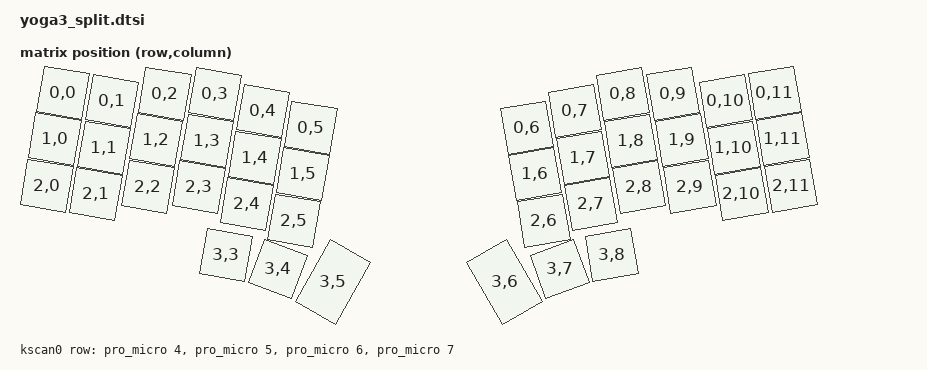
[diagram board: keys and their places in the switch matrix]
/*
 * SPDX-License-Identifier: MIT
 */

#include <dt-bindings/zmk/matrix_transform.h>
#include <physical_layouts.dtsi>

/ {
    chosen {
        zmk,kscan = &kscan0;
        zmk,physical-layout = &yoga3_split_layout;
    };

    default_transform: default_transform {
        compatible = "zmk,matrix-transform";
        columns = <12>;
        rows = <4>;
        map = <
            RC(0,0) RC(0,1) RC(0,2) RC(0,3) RC(0,4) RC(0,5) RC(0,6) RC(0,7) RC(0,8) RC(0,9) RC(0,10) RC(0,11)
            RC(1,0) RC(1,1) RC(1,2) RC(1,3) RC(1,4) RC(1,5) RC(1,6) RC(1,7) RC(1,8) RC(1,9) RC(1,10) RC(1,11)
            RC(2,0) RC(2,1) RC(2,2) RC(2,3) RC(2,4) RC(2,5) RC(2,6) RC(2,7) RC(2,8) RC(2,9) RC(2,10) RC(2,11)
            RC(3,3) RC(3,4) RC(3,5) RC(3,6) RC(3,7) RC(3,8)
        >;
    };

    yoga3_split_layout: yoga3_split_layout {
        compatible = "zmk,physical-layout";
        display-name = "Default";
        transform = <&default_transform>;
        keys  //                     w   h     x     y   rot    rx    ry
            = <&key_physical_attrs 100 100      33       0    1000      83      50>
            , <&key_physical_attrs 100 100     131      17    1000     181      67>
            , <&key_physical_attrs 100 100     236       2    1000     286      52>
            , <&key_physical_attrs 100 100     337       3    1000     387      53>
            , <&key_physical_attrs 100 100     433      37    1000     483      87>
            , <&key_physical_attrs 100 100     528      70    1000     578     120>
            , <&key_physical_attrs 100 100     961      70 (-1000)    1011     120>
            , <&key_physical_attrs 100 100    1056      37 (-1000)    1106      87>
            , <&key_physical_attrs 100 100    1152       3 (-1000)    1202      53>
            , <&key_physical_attrs 100 100    1253       2 (-1000)    1303      52>
            , <&key_physical_attrs 100 100    1358      17 (-1000)    1408      67>
            , <&key_physical_attrs 100 100    1456       0 (-1000)    1506      50>
            , <&key_physical_attrs 100 100      16      93    1000      66     143>
            , <&key_physical_attrs 100 100     115     110    1000     165     160>
            , <&key_physical_attrs 100 100     219      95    1000     269     145>
            , <&key_physical_attrs 100 100     321      96    1000     371     146>
            , <&key_physical_attrs 100 100     416     130    1000     466     180>
            , <&key_physical_attrs 100 100     512     163    1000     562     213>
            , <&key_physical_attrs 100 100     977     163 (-1000)    1027     213>
            , <&key_physical_attrs 100 100    1073     130 (-1000)    1123     180>
            , <&key_physical_attrs 100 100    1168      96 (-1000)    1218     146>
            , <&key_physical_attrs 100 100    1270      95 (-1000)    1320     145>
            , <&key_physical_attrs 100 100    1374     110 (-1000)    1424     160>
            , <&key_physical_attrs 100 100    1472      93 (-1000)    1522     143>
            , <&key_physical_attrs 100 100       0     186    1000      50     236>
            , <&key_physical_attrs 100 100      98     203    1000     148     253>
            , <&key_physical_attrs 100 100     203     188    1000     253     238>
            , <&key_physical_attrs 100 100     304     189    1000     354     239>
            , <&key_physical_attrs 100 100     400     223    1000     450     273>
            , <&key_physical_attrs 100 100     495     256    1000     545     306>
            , <&key_physical_attrs 100 100     994     256 (-1000)    1044     306>
            , <&key_physical_attrs 100 100    1089     223 (-1000)    1139     273>
            , <&key_physical_attrs 100 100    1185     189 (-1000)    1235     239>
            , <&key_physical_attrs 100 100    1286     188 (-1000)    1336     238>
            , <&key_physical_attrs 100 100    1390     203 (-1000)    1440     253>
            , <&key_physical_attrs 100 100    1489     186 (-1000)    1539     236>
            , <&key_physical_attrs 100 100     359     325    1000     409     375>
            , <&key_physical_attrs 100 100     463     353    2000     513     403>
            , <&key_physical_attrs 100 150     573     354    3000     623     429>
            , <&key_physical_attrs 100 150     916     354 (-3000)     966     429>
            , <&key_physical_attrs 100 100    1026     353 (-2000)    1076     403>
            , <&key_physical_attrs 100 100    1130     325 (-1000)    1180     375>
            ;
    };

    kscan0: kscan {
        compatible = "zmk,kscan-gpio-matrix";
        wakeup-source;
        diode-direction = "col2row";
        row-gpios
            = <&pro_micro 4 (GPIO_ACTIVE_HIGH | GPIO_PULL_DOWN)>
            , <&pro_micro 5 (GPIO_ACTIVE_HIGH | GPIO_PULL_DOWN)>
            , <&pro_micro 6 (GPIO_ACTIVE_HIGH | GPIO_PULL_DOWN)>
            , <&pro_micro 7 (GPIO_ACTIVE_HIGH | GPIO_PULL_DOWN)>
            ;
    };
};
